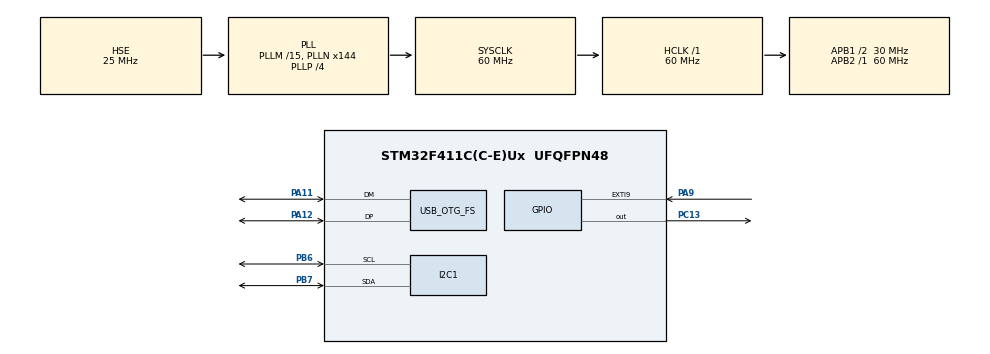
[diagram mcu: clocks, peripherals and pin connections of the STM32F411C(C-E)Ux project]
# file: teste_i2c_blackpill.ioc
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Dma.I2C1_RX.0.Direction=DMA_PERIPH_TO_MEMORY
Dma.I2C1_RX.0.FIFOMode=DMA_FIFOMODE_DISABLE
Dma.I2C1_RX.0.Instance=DMA1_Stream0
Dma.I2C1_RX.0.MemDataAlignment=DMA_MDATAALIGN_BYTE
Dma.I2C1_RX.0.MemInc=DMA_MINC_ENABLE
Dma.I2C1_RX.0.Mode=DMA_NORMAL
Dma.I2C1_RX.0.PeriphDataAlignment=DMA_PDATAALIGN_BYTE
Dma.I2C1_RX.0.PeriphInc=DMA_PINC_DISABLE
Dma.I2C1_RX.0.Priority=DMA_PRIORITY_LOW
Dma.I2C1_TX.1.Direction=DMA_MEMORY_TO_PERIPH
Dma.I2C1_TX.1.FIFOMode=DMA_FIFOMODE_DISABLE
Dma.I2C1_TX.1.Instance=DMA1_Stream1
Dma.I2C1_TX.1.MemDataAlignment=DMA_MDATAALIGN_BYTE
Dma.I2C1_TX.1.MemInc=DMA_MINC_ENABLE
Dma.I2C1_TX.1.Mode=DMA_NORMAL
Dma.I2C1_TX.1.PeriphDataAlignment=DMA_PDATAALIGN_BYTE
Dma.I2C1_TX.1.PeriphInc=DMA_PINC_DISABLE
Dma.I2C1_TX.1.Priority=DMA_PRIORITY_LOW
Dma.Request0=I2C1_RX
Dma.Request1=I2C1_TX
Mcu.Family=STM32F4
Mcu.Name=STM32F411C(C-E)Ux
Mcu.Package=UFQFPN48
NVIC.DMA1_Stream0_IRQn=true\:0\:0\:false\:false\:true\:false\:true\:true
NVIC.DMA1_Stream1_IRQn=true\:0\:0\:false\:false\:true\:false\:true\:true
NVIC.EXTI9_5_IRQn=true\:0\:0\:false\:false\:true\:true\:true\:true
NVIC.OTG_FS_IRQn=true\:0\:0\:false\:false\:true\:false\:true\:true
NVIC.PriorityGroup=NVIC_PRIORITYGROUP_4
PA11.Mode=Device_Only
PA11.Signal=USB_OTG_FS_DM
PA12.Mode=Device_Only
PA12.Signal=USB_OTG_FS_DP
PA13.Mode=Serial_Wire
PA13.Signal=SYS_JTMS-SWDIO
PA14.Mode=Serial_Wire
PA14.Signal=SYS_JTCK-SWCLK
PA9.GPIO_ModeDefaultEXTI=GPIO_MODE_IT_FALLING
PA9.GPIO_PuPd=GPIO_PULLUP
PA9.Signal=GPXTI9
PB6.GPIO_Pu=GPIO_PULLUP
PB6.Mode=I2C
PB6.Signal=I2C1_SCL
PB7.GPIO_Pu=GPIO_PULLUP
PB7.Mode=I2C
PB7.Signal=I2C1_SDA
PC13-ANTI_TAMP.PinState=GPIO_PIN_SET
PC13-ANTI_TAMP.Signal=GPIO_Output
PH0\ -\ OSC_IN.Mode=HSE-External-Oscillator
PH0\ -\ OSC_IN.Signal=RCC_OSC_IN
PH1\ -\ OSC_OUT.Mode=HSE-External-Oscillator
PH1\ -\ OSC_OUT.Signal=RCC_OSC_OUT
ProjectManager.HeapSize=0x200
ProjectManager.StackSize=0x400
ProjectManager.TargetToolchain=STM32CubeIDE
RCC.48MHZClocksFreq_Value=48000000
RCC.AHBFreq_Value=60000000
RCC.APB1CLKDivider=RCC_HCLK_DIV2
RCC.APB1Freq_Value=30000000
RCC.APB1TimFreq_Value=60000000
RCC.APB2Freq_Value=60000000
RCC.APB2TimFreq_Value=60000000
RCC.CortexFreq_Value=60000000
RCC.HCLKFreq_Value=60000000
RCC.HSE_VALUE=25000000
RCC.HSI_VALUE=16000000
RCC.LSE_VALUE=32768
RCC.PLLM=15
RCC.PLLN=144
RCC.PLLP=RCC_PLLP_DIV4
RCC.PLLQ=5
RCC.SYSCLKFreq_VALUE=60000000
RCC.SYSCLKSource=RCC_SYSCLKSOURCE_PLLCLK
RCC.VCOOutputFreq_Value=240000000
USB_DEVICE.CLASS_NAME_FS=CDC
USB_DEVICE.VirtualMode=Cdc
USB_DEVICE.VirtualModeFS=Cdc_FS
USB_OTG_FS.VirtualMode=Device_Only
VP_USB_DEVICE_VS_USB_DEVICE_CDC_FS.Mode=CDC_FS
board=custom

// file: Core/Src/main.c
/* USER CODE BEGIN Header */
/**
  ******************************************************************************
  * @file           : main.c
  * @brief          : Main program body
  ******************************************************************************
  * @attention
  *
  * Copyright (c) 2026 STMicroelectronics.
  * All rights reserved.
  *
  * This software is licensed under terms that can be found in the LICENSE file
  * in the root directory of this software component.
  * If no LICENSE file comes with this software, it is provided AS-IS.
  *
  ******************************************************************************
  */
/* USER CODE END Header */
#include "main.h"
#include "usb_device.h"

/* USER CODE BEGIN Includes */
#include "string.h"
/* USER CODE END Includes */

/* USER CODE BEGIN PTD */

typedef struct {
	uint16_t ir_sample;
	uint16_t red_sample;
} sampleData_t;

/* USER CODE END PTD */

/* USER CODE BEGIN PD */
// Endereço do dispositivo I2C
#define MAX30100_DEVICE_ADDRESS  (0x57<<1)

// Endereços dos registradores internos
#define MAX30100_INTERRUPT_STATUS 0x00
#define MAX30100_INTERRUPT_ENABLE 0x01
#define MAX30100_FIFO_WR_PTR	  0x02
#define MAX30100_OVF_COUNTER	  0x03
#define MAX30100_FIFO_RD_PTR	  0x04
#define MAX30100_FIFO_DATA        0x05
#define MAX30100_CONFIG_MODE      0x06
#define MAX30100_SPO2_CONFIG      0x07
#define MAX30100_LED_CONFIG       0x09

// Configurações
#define MAX30100_INT_EN_A_FULL   (1<<7)		// Interrupção habilitada - Almost Full
#define MAX30100_MODE_HR_EN       0x02		// Configuração modo apenas HeartRate
#define MAX30100_MODE_SPO2_HR_EN  0x03		// Configuração modo HeartRate + SpO2
#define MAX30100_SPO2_16BITS      0x03		// 50 samples/S, pulse-width 1600us, resolução 16bits
#define MAX30100_LED_CURRENT_CTRL 0x33		// Controle corrente LED IR+R com 11 mA cada
#define MAX30100_CLEAR			  0x00		// Limpa registradores -> seta em zero

// Endereços verificação
#define MAX30100_PWR_RDY 		  0x01
#define MAX30100_PART_ID 		  0xFF

#define MAX30100_MAX_DELAY		  10
/* USER CODE END PD */

/* USER CODE BEGIN PM */
// Macro para calcular comprimento do array
#define LEN_ARRAY(array)	(sizeof(array) / sizeof((array)[0]))
/* USER CODE END PM */

I2C_HandleTypeDef hi2c1;
DMA_HandleTypeDef hdma_i2c1_rx;
DMA_HandleTypeDef hdma_i2c1_tx;

/* USER CODE BEGIN PV */
uint8_t devices[4] = {0};
uint8_t *ptrDev = devices;

uint8_t fifo_buffer[64];
uint8_t *ptrFifo_buffer = fifo_buffer;

uint8_t usbData = 0;

sampleData_t rawSample;

//uint16_t ir_sample = 0;
//uint16_t red_sample = 0;

HAL_StatusTypeDef cfgOk;

volatile uint8_t dmaTransferActive = 0;
volatile uint8_t rxCplt = 0;
volatile uint8_t newInterrupt = 0;

volatile USBD_StatusTypeDef usbTxCplt = USBD_OK;

uint8_t samplesSize = 0;
/* USER CODE END PV */

void SystemClock_Config(void);
static void MX_GPIO_Init(void);
static void MX_DMA_Init(void);
static void MX_I2C1_Init(void);
/* USER CODE BEGIN PFP */
extern uint8_t CDC_Transmit_FS(uint8_t* Buf, uint16_t Len);
void I2C_Bus_Clear(void);
HAL_StatusTypeDef max30100_init();
HAL_StatusTypeDef max30100_WriteReg(I2C_HandleTypeDef *hi2c, uint8_t regAddr, uint8_t modeCfg);
HAL_StatusTypeDef max30100_ReadReg(I2C_HandleTypeDef *hi2c, uint8_t regAddr, uint8_t *pValue);

/* USER CODE END PFP */

int main(void)
{

  /* MCU Configuration--------------------------------------------------------*/

  /* Reset of all peripherals, Initializes the Flash interface and the Systick. */
  HAL_Init();

  /* Configure the system clock */
  SystemClock_Config();

  /* USER CODE BEGIN SysInit */
  I2C_Bus_Clear();
  /* USER CODE END SysInit */

  /* Initialize all configured peripherals */
  MX_GPIO_Init();
  MX_DMA_Init();
  MX_I2C1_Init();
  MX_USB_DEVICE_Init();
  /* USER CODE BEGIN 2 */

  // Verificação se o microcontrolador é Big-Endian ou Little-Endian
//  uint32_t verifEndianess = 0x0A0B0C0D;
//  uint8_t *ptrVerEndianess;
//  ptrVerEndianess = &verifEndianess;

  // Verificação de dispositivos I2C disponíveis
//  for(uint8_t i = 0; i <128; i++){
//	  if(HAL_I2C_IsDeviceReady(&hi2c1, (uint16_t)(i << 1), 3, 5) == HAL_OK){
//		  *ptrDev = i;
//		  ptrDev++;
//	  }
//  }

  while(max30100_init() != HAL_OK){
	  HAL_Delay(50);
  }

  /* USER CODE END 2 */

  /* Infinite loop */
  /* USER CODE BEGIN WHILE */
  while (1)
  {
	  if(newInterrupt){
		  newInterrupt = 0;
		  uint8_t fifoRdPtr = 0, fifoWrPtr = 0;
		  int8_t numSamples = 0;
		  static uint8_t statusReg = 0;
		  if(HAL_I2C_Mem_Read(&hi2c1, MAX30100_DEVICE_ADDRESS, MAX30100_INTERRUPT_STATUS, I2C_MEMADD_SIZE_8BIT, &statusReg, sizeof(statusReg), MAX30100_MAX_DELAY) == HAL_OK){
			  if(statusReg && 0x01){
				  I2C_Bus_Clear();
				  max30100_init();
			  } else {
				  max30100_ReadReg(&hi2c1, MAX30100_FIFO_WR_PTR, &fifoWrPtr);
				  max30100_ReadReg(&hi2c1, MAX30100_FIFO_RD_PTR, &fifoRdPtr);

				  numSamples = (fifoWrPtr - fifoRdPtr) & 0x0F;
				  if(numSamples <= 0){
					  numSamples = 16;
				  }
				  samplesSize = numSamples * 4;
				  //
				  dmaTransferActive = 1;	// Flag para verificação no callback
				  HAL_I2C_Mem_Read_DMA(&hi2c1, MAX30100_DEVICE_ADDRESS, MAX30100_FIFO_DATA, I2C_MEMADD_SIZE_8BIT, ptrFifo_buffer, samplesSize);
			  }
		  }
	  }
	  if(rxCplt){
		  rxCplt = 0;
		  uint16_t txLen = 0;
		  uint32_t timeout = 0;
		  char msgBuffer[64];
		  for(uint8_t i = 0; i < samplesSize; i+=4){
			  // Carrega os dados do fifo_buffer nas variáveis da struct
			  rawSample.ir_sample  = fifo_buffer[i+0]<<8 | fifo_buffer[i+1];
			  rawSample.red_sample = fifo_buffer[i+2]<<8 | fifo_buffer[i+3];
			  // Carrega os valores das amostras em uma string e a função sprintf retorna o tamanho alocado
			  txLen = sprintf(msgBuffer, "ir: %u, red: %u\n", rawSample.ir_sample, rawSample.red_sample);
			  // Testa se a flag está livre, se não estiver aguarda até o timeout predefinido
			  timeout = HAL_GetTick();
			  while(usbTxCplt != USBD_OK){
				  if(HAL_GetTick() - timeout > MAX30100_MAX_DELAY){
					  break; 	// Se chegou no timeout, o laço é interrompido e segue o código, mesmo com a USB travada/ desconectada
				  }
			  }
			  // Marca ocupado e envia nova amostra
			  usbTxCplt = USBD_BUSY;
			  if(CDC_Transmit_FS((uint8_t*)msgBuffer, txLen) != USBD_OK){ // Se o envio falhar, reseta a flag para nova tentativa
				  usbTxCplt = USBD_OK;
			  }

		  }

    /* USER CODE END WHILE */

	  }
  }
}
void SystemClock_Config(void)
{
  RCC_OscInitTypeDef RCC_OscInitStruct = {0};
  RCC_ClkInitTypeDef RCC_ClkInitStruct = {0};

  /** Configure the main internal regulator output voltage
  */
  __HAL_RCC_PWR_CLK_ENABLE();
  __HAL_PWR_VOLTAGESCALING_CONFIG(PWR_REGULATOR_VOLTAGE_SCALE1);

  /** Initializes the RCC Oscillators according to the specified parameters
  * in the RCC_OscInitTypeDef structure.
  */
  RCC_OscInitStruct.OscillatorType = RCC_OSCILLATORTYPE_HSE;
  RCC_OscInitStruct.HSEState = RCC_HSE_ON;
  RCC_OscInitStruct.PLL.PLLState = RCC_PLL_ON;
  RCC_OscInitStruct.PLL.PLLSource = RCC_PLLSOURCE_HSE;
  RCC_OscInitStruct.PLL.PLLM = 15;
  RCC_OscInitStruct.PLL.PLLN = 144;
  RCC_OscInitStruct.PLL.PLLP = RCC_PLLP_DIV4;
  RCC_OscInitStruct.PLL.PLLQ = 5;
  if (HAL_RCC_OscConfig(&RCC_OscInitStruct) != HAL_OK)
  {
    Error_Handler();
  }

  /** Initializes the CPU, AHB and APB buses clocks
  */
  RCC_ClkInitStruct.ClockType = RCC_CLOCKTYPE_HCLK|RCC_CLOCKTYPE_SYSCLK
                              |RCC_CLOCKTYPE_PCLK1|RCC_CLOCKTYPE_PCLK2;
  RCC_ClkInitStruct.SYSCLKSource = RCC_SYSCLKSOURCE_PLLCLK;
  RCC_ClkInitStruct.AHBCLKDivider = RCC_SYSCLK_DIV1;
  RCC_ClkInitStruct.APB1CLKDivider = RCC_HCLK_DIV2;
  RCC_ClkInitStruct.APB2CLKDivider = RCC_HCLK_DIV1;

  if (HAL_RCC_ClockConfig(&RCC_ClkInitStruct, FLASH_LATENCY_1) != HAL_OK)
  {
    Error_Handler();
  }
}

static void MX_I2C1_Init(void)
{

  hi2c1.Instance = I2C1;
  hi2c1.Init.ClockSpeed = 100000;
  hi2c1.Init.DutyCycle = I2C_DUTYCYCLE_2;
  hi2c1.Init.OwnAddress1 = 0;
  hi2c1.Init.AddressingMode = I2C_ADDRESSINGMODE_7BIT;
  hi2c1.Init.DualAddressMode = I2C_DUALADDRESS_DISABLE;
  hi2c1.Init.OwnAddress2 = 0;
  hi2c1.Init.GeneralCallMode = I2C_GENERALCALL_DISABLE;
  hi2c1.Init.NoStretchMode = I2C_NOSTRETCH_DISABLE;
  if (HAL_I2C_Init(&hi2c1) != HAL_OK)
  {
    Error_Handler();
  }

}

static void MX_DMA_Init(void)
{

  /* DMA controller clock enable */
  __HAL_RCC_DMA1_CLK_ENABLE();

  /* DMA interrupt init */
  /* DMA1_Stream0_IRQn interrupt configuration */
  HAL_NVIC_SetPriority(DMA1_Stream0_IRQn, 0, 0);
  HAL_NVIC_EnableIRQ(DMA1_Stream0_IRQn);
  /* DMA1_Stream1_IRQn interrupt configuration */
  HAL_NVIC_SetPriority(DMA1_Stream1_IRQn, 0, 0);
  HAL_NVIC_EnableIRQ(DMA1_Stream1_IRQn);

}

static void MX_GPIO_Init(void)
{
  GPIO_InitTypeDef GPIO_InitStruct = {0};

  /* GPIO Ports Clock Enable */
  __HAL_RCC_GPIOC_CLK_ENABLE();
  __HAL_RCC_GPIOH_CLK_ENABLE();
  __HAL_RCC_GPIOA_CLK_ENABLE();
  __HAL_RCC_GPIOB_CLK_ENABLE();

  /*Configure GPIO pin Output Level */
  HAL_GPIO_WritePin(GPIOC, GPIO_PIN_13, GPIO_PIN_SET);

  /*Configure GPIO pin : PC13 */
  GPIO_InitStruct.Pin = GPIO_PIN_13;
  GPIO_InitStruct.Mode = GPIO_MODE_OUTPUT_PP;
  GPIO_InitStruct.Pull = GPIO_NOPULL;
  GPIO_InitStruct.Speed = GPIO_SPEED_FREQ_LOW;
  HAL_GPIO_Init(GPIOC, &GPIO_InitStruct);

  /*Configure GPIO pin : PA9 */
  GPIO_InitStruct.Pin = GPIO_PIN_9;
  GPIO_InitStruct.Mode = GPIO_MODE_IT_FALLING;
  GPIO_InitStruct.Pull = GPIO_PULLUP;
  HAL_GPIO_Init(GPIOA, &GPIO_InitStruct);

  /* EXTI interrupt init*/
  HAL_NVIC_SetPriority(EXTI9_5_IRQn, 0, 0);
  HAL_NVIC_EnableIRQ(EXTI9_5_IRQn);

}

/* USER CODE BEGIN 4 */
HAL_StatusTypeDef max30100_init(){
    uint8_t part_id = 0;
    uint8_t dummyStatus = 0;
    HAL_StatusTypeDef status;

    HAL_Delay(100);		// Garantir estabilização da alimentação
    status = HAL_I2C_Mem_Read(&hi2c1, MAX30100_DEVICE_ADDRESS, MAX30100_PART_ID, I2C_MEMADD_SIZE_8BIT, &part_id, sizeof(part_id), MAX30100_MAX_DELAY);
    if(status != HAL_OK || part_id != 0x11){
    	return HAL_ERROR;
    }
    // Reset ponteiros da FIFO
    max30100_WriteReg(&hi2c1, MAX30100_OVF_COUNTER, MAX30100_CLEAR);
	max30100_WriteReg(&hi2c1, MAX30100_FIFO_WR_PTR, MAX30100_CLEAR);
	max30100_WriteReg(&hi2c1, MAX30100_FIFO_RD_PTR, MAX30100_CLEAR);

    // Configurações dos registradores
    max30100_WriteReg(&hi2c1, MAX30100_CONFIG_MODE, MAX30100_MODE_SPO2_HR_EN);
    max30100_WriteReg(&hi2c1, MAX30100_SPO2_CONFIG, MAX30100_SPO2_16BITS);
    max30100_WriteReg(&hi2c1, MAX30100_LED_CONFIG, MAX30100_LED_CURRENT_CTRL);

    // Habilita interrupção Almost Full
    max30100_WriteReg(&hi2c1, MAX30100_INTERRUPT_ENABLE, MAX30100_INT_EN_A_FULL);

    // Leitura Interrupt Status para limpar os registradores
    max30100_ReadReg(&hi2c1, MAX30100_INTERRUPT_STATUS, &dummyStatus);

    return HAL_OK;
}

HAL_StatusTypeDef max30100_WriteReg(I2C_HandleTypeDef *hi2c, uint8_t regAddr, uint8_t modeCfg){
	//HAL_I2C_Mem_Write(hi2c, DevAddress, MemAddress, MemAddSize, pData, Size, Timeout);
	return HAL_I2C_Mem_Write(hi2c, MAX30100_DEVICE_ADDRESS, regAddr, I2C_MEMADD_SIZE_8BIT, &modeCfg, sizeof(modeCfg), MAX30100_MAX_DELAY);
}

HAL_StatusTypeDef max30100_ReadReg(I2C_HandleTypeDef *hi2c, uint8_t regAddr, uint8_t *pValue){
	return HAL_I2C_Mem_Read(hi2c, MAX30100_DEVICE_ADDRESS, regAddr, I2C_MEMADD_SIZE_8BIT, pValue, 1, MAX30100_MAX_DELAY);

}

void HAL_GPIO_EXTI_Callback(uint16_t GPIO_Pin){
	if(GPIO_Pin == GPIO_PIN_9){
		newInterrupt = 1;
	}

}

void HAL_I2C_MemRxCpltCallback(I2C_HandleTypeDef* hi2c){
	if(hi2c->Instance == I2C1){
		if(dmaTransferActive){
			dmaTransferActive = 0;
			static uint8_t dummyStatus = 0;
			HAL_I2C_Mem_Read(&hi2c1, MAX30100_DEVICE_ADDRESS, MAX30100_INTERRUPT_STATUS, I2C_MEMADD_SIZE_8BIT, &dummyStatus, sizeof(dummyStatus), MAX30100_MAX_DELAY);
			rxCplt = 1;
		}
	}
}

void I2C_Bus_Clear(void) {
    GPIO_InitTypeDef GPIO_InitStruct = {0};

    // 1. Habilita o clock do GPIO do I2C1 (assumindo PB6 = SCL, PB7 = SDA)
    __HAL_RCC_GPIOB_CLK_ENABLE();

    // 2. Configura PB6 (SCL) e PB7 (SDA) como Open-Drain Output manual
    GPIO_InitStruct.Pin = GPIO_PIN_6 | GPIO_PIN_7;
    GPIO_InitStruct.Mode = GPIO_MODE_OUTPUT_OD;
    GPIO_InitStruct.Pull = GPIO_PULLUP;
    GPIO_InitStruct.Speed = GPIO_SPEED_FREQ_HIGH;
    HAL_GPIO_Init(GPIOB, &GPIO_InitStruct);

    // Garante as linhas em nível alto inicialmente
    HAL_GPIO_WritePin(GPIOB, GPIO_PIN_6, GPIO_PIN_SET);
    HAL_GPIO_WritePin(GPIOB, GPIO_PIN_7, GPIO_PIN_SET);

    // 3. Envia 9 pulsos de clock no SCL para o slave (MAX30100) soltar a linha SDA
    for (uint8_t i = 0; i < 9; i++) {
        HAL_GPIO_WritePin(GPIOB, GPIO_PIN_6, GPIO_PIN_RESET);
        for (volatile int d = 0; d < 100; d++); // Pequeno atraso
        HAL_GPIO_WritePin(GPIOB, GPIO_PIN_6, GPIO_PIN_SET);
        for (volatile int d = 0; d < 100; d++);
    }

    // 4. Envia condição de STOP manual
    HAL_GPIO_WritePin(GPIOB, GPIO_PIN_7, GPIO_PIN_RESET);
    for (volatile int d = 0; d < 100; d++);
    HAL_GPIO_WritePin(GPIOB, GPIO_PIN_6, GPIO_PIN_SET);
    for (volatile int d = 0; d < 100; d++);
    HAL_GPIO_WritePin(GPIOB, GPIO_PIN_7, GPIO_PIN_SET);
}

/* USER CODE END 4 */

void Error_Handler(void)
{
  /* USER CODE BEGIN Error_Handler_Debug */
  /* User can add his own implementation to report the HAL error return state */
  __disable_irq();
  while (1)
  {
	  HAL_GPIO_TogglePin(GPIOC, GPIO_PIN_13);
	  HAL_Delay(5000);
	  HAL_GPIO_TogglePin(GPIOC, GPIO_PIN_13);
	  HAL_Delay(5000);
  }
  /* USER CODE END Error_Handler_Debug */
}
